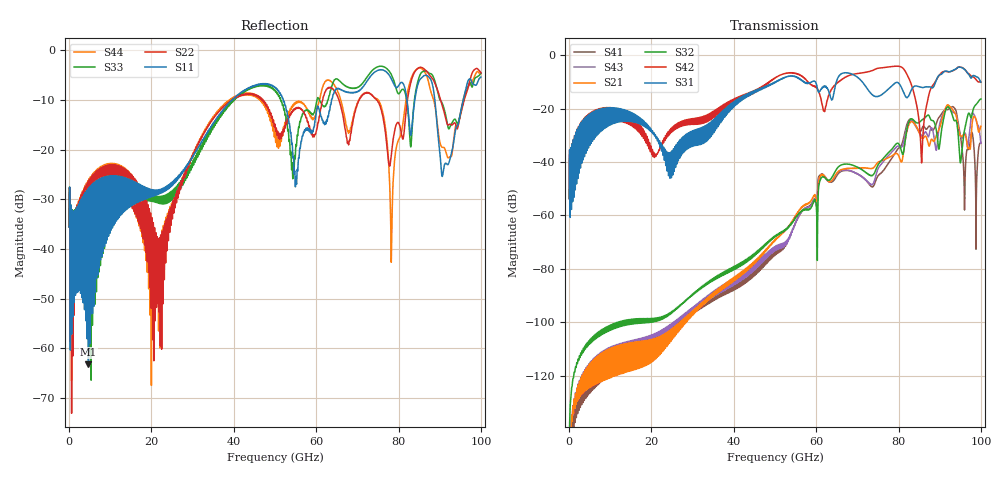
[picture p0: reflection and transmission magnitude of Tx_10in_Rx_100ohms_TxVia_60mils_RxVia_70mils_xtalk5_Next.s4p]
! Info: Touchstone file created by Circ.  Input file=Tx_10in_Rx_100ohms_TxVia_60mils_RxVia_70mils.circ
# Hz S RI R 50
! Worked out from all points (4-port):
!   10000 points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, 10 MHz to 100 GHz, reference 50 ohm
!   strongest paths, dB at 10 MHz, 25.01 GHz, 50.01 GHz, 75.01 GHz, 100 GHz:
!     S31: -53.7, -35.8, -10.2, -15.5, -10.1
!     S42: -53.7, -27.6, -8.6, -4.9, -10.0
!     S32: -156.7, -96.1, -68.1, -41.1, -16.4
!     S21: -167.5, -106.3, -69.5, -40.1, -26.6
!     S43: -158.1, -104.4, -73.2, -42.6, -33.0
!     S41: -158.4, -102.1, -74.8, -45.2, -32.9
!   lowest |S11| = -63.2 dB at 4.71 GHz (marker M1), VSWR 1.00, Z = 50 - j0.0646 ohm
!   |S11| at or under -10 dB: start of sweep to 39.59 GHz; 52.01 GHz to 63.74 GHz (11.73 GHz wide, 20.3 % of centre); 88.82 GHz to 95.74 GHz (6.921 GHz wide, 7.5 % of centre) (the widest 3 of 4)
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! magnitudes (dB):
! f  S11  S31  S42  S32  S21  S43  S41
! 10 MHz  -35.6  -53.7  -53.7  -156.7  -167.5  -158.1  -158.4
! 4.71 GHz  -63.2  -34.8  -30.8  -107.5  -119.2  -118.5  -125.6
! 21.67 GHz  -28.8  -31.6  -36.2  -98.2  -110.2  -108.2  -105.0
! 40.43 GHz  -9.4  -18.6  -17.6  -78.9  -82.9  -83.9  -86.0
! 78.28 GHz  -5.8  -11.6  -4.3  -35.4  -37.8  -36.5  -38.8
! 85.59 GHz  -5.6  -12.1  -40.2  -24.4  -31.1  -30.1  -27.8
! 100 GHz  -5.4  -10.1  -10.0  -16.4  -26.6  -33.0  -32.9
